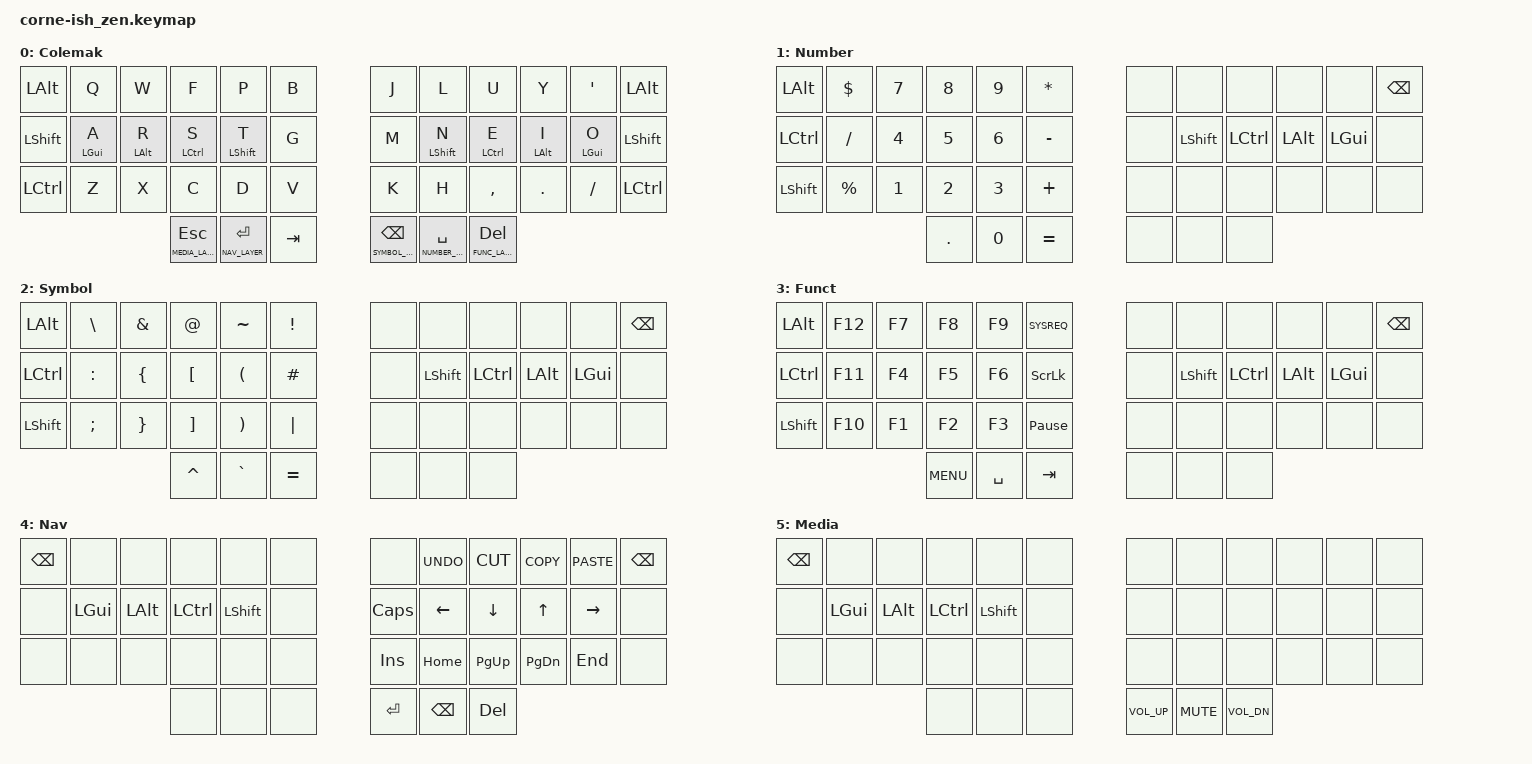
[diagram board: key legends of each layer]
/*
*
* Copyright (c) 2021 Darryl deHaan
* SPDX-License-Identifier: MIT
*
*/

#include <behaviors.dtsi>
#include <dt-bindings/zmk/keys.h>
#include <dt-bindings/zmk/bt.h>

#define DEFAULT 0
#define NUMBER_LAYER 1
#define SYMBOL_LAYER 2
#define FUNC_LAYER 3
#define NAV_LAYER 4
#define MEDIA_LAYER 5
#define GAMING_LAYER 6

/ {

        behaviors {
            // Taken from Option 3 on https://zmk.dev/docs/behaviors/hold-tap
            bhm: balanced_homerow_mods {
                compatible = "zmk,behavior-hold-tap";
                label = "HOMEROW_MODS";
                #binding-cells = <2>;
                tapping-term-ms = <200>;    // <---[[moderate duration]]
                quick-tap-ms = <0>;
                flavor = "balanced";
                bindings = <&kp>, <&kp>;
            };
        };
        
        keymap {
                compatible = "zmk,keymap";

                default_layer {
                        label = "Colemak";
// -----------------------------------------------------------------------------------------
// |  ALT |  Q  |  W  |  F  |  P  |  B  |     |  J  |  L   |  U  |  Y  |  '  | ALT  |
// | SHFT |  A  |  R  |  S  |  T  |  G  |     |  M  |  N   |  E  |  I  |  O  | SHFT |
// | CTRL |  Z  |  X  |  C  |  D  |  V  |     |  K  |  H   |  ,  |  .  |  /  | CTRL |
//                    | ESC | ENT | TAB |     | BSPC| SPC  | DEL |
                        bindings = <
   &kp LALT  &kp Q       &kp W       &kp F        &kp P        &kp B          &kp J &kp L         &kp U            &kp Y         &kp SQT        &kp LALT
   &kp LSHFT &bhm LGUI A &bhm LALT R &bhm LCTRL S &bhm LSHFT T &kp G          &kp M &bhm LSHFT N  &bhm LCTRL E     &bhm LALT I   &bhm LGUI O    &kp LSHFT
   &kp LCTRL &kp Z       &kp X       &kp C        &kp D        &kp V          &kp K &kp H         &kp COMMA        &kp DOT       &kp FSLH       &kp LCTRL
   &lt MEDIA_LAYER ESC &lt NAV_LAYER RET &kp TAB                              &lt SYMBOL_LAYER BSPC &lt NUMBER_LAYER SPC &lt FUNC_LAYER DEL
                        >;
                };
                
                number_layer {
                        label = "Number";
// -----------------------------------------------------------------------------------------
// |  ALT |  $  |  7  |  8  |  9  |  *  |     |     |     |     |     |     | BKSP |
// | CTRL |  /  |  4  |  5  |  6  |  -  |     |     |LSHFT|LCTRL| LALT| LGUI|      |
// | SHFT |  %  |  1  |  2  |  3  |  +  |     |     |     |     |     |     |      |
//                    | DOT |  0  |  =  |     |     |     |     |
                        bindings = <
   &kp LALT   &kp DLLR  &kp N7 &kp N8 &kp N9 &kp STAR      &none  &none     &none     &none    &none    &kp BSPC
   &kp LCTRL  &kp FSLH  &kp N4 &kp N5 &kp N6 &kp MINUS     &none  &kp LSHFT &kp LCTRL &kp LALT &kp LGUI &none
   &kp LSHFT  &kp PRCNT &kp N1 &kp N2 &kp N3 &kp PLUS      &none  &none     &none     &none    &none    &none
                              &kp DOT &kp N0 &kp EQUAL     &none  &none   &none
                        >;
                };
                
                symbol_layer {
                        label = "Symbol";
// -----------------------------------------------------------------------------------------
// |  ALT |  \  |  &  |  @  |  ~  |  !  |   |     |     |     |     |     | BKSP |
// | CTRL |  :  |  {  |  [  |  (  |  #  |   |     |LSHFT|LCTRL| LALT| LGUI|      |
// | SHFT |  ;  |  }  |  ]  |  )  |  |  |   |     |     |     |     |     |      |
//                    |  ^  |  `  |  =  |   |     |     |     |
                        bindings = <
   &kp LALT   &kp BSLH  &kp AMPS &kp AT   &kp TILDE &kp EXCL     &none  &none     &none     &none    &none    &kp BSPC
   &kp LCTRL  &kp COLON &kp LBRC &kp LBKT &kp LPAR  &kp HASH     &none  &kp LSHFT &kp LCTRL &kp LALT &kp LGUI &none
   &kp LSHFT  &kp SEMI  &kp RBRC &kp RBKT &kp RPAR  &kp PIPE     &none  &none     &none     &none    &none    &none
                               &kp CARET &kp GRAVE &kp EQUAL     &none  &none   &none
                        >;
                };
                
                function_layer {
                        label = "Funct";
// -----------------------------------------------------------------------------------------
// |  ALT | F12 | F7  | F8  | F9  |  SysRq  |     |     |     |     |     |     | BKSP |
// | CTRL | F11 | F4  | F5  | F6  |  ScrlLk |     |     |LSHFT|LCTRL| LALT| LGUI|      |
// | SHFT | F10 | F1  | F2  | F3  |  Pause  |     |     |     |     |     |     |      |
//                    | MENU|  SPC  |  TAB  |     |     |     |     |
                        bindings = <
   &kp LALT   &kp F12  &kp F7 &kp F8 &kp F9 &kp SYSREQ          &none  &none     &none     &none    &none    &kp BSPC
   &kp LCTRL  &kp F11  &kp F4 &kp F5 &kp F6 &kp SLCK            &none  &kp LSHFT &kp LCTRL &kp LALT &kp LGUI &none
   &kp LSHFT  &kp F10  &kp F1 &kp F2 &kp F3 &kp PAUSE_BREAK     &none  &none     &none     &none    &none    &none
                              &kp K_MENU &kp SPC &kp TAB        &none  &none   &none
                        >;
                };
                
                nav_layer {
                        label = "Nav";
// -----------------------------------------------------------------------------------------
// | BKSP |      |      |       |       |    |        |        | UNDO | CUT   | COPY  | PASTE | BKSP |
// |      | LGUI | LALT | LCTRL | LSHFT |    |  GAP   | CAPS   | LEFT | DOWN  | UP    | RIGHT |      |
// |      |      |      |       |       |    |        | INSERT | HOME | PG_UP | PG_DN | END   |      |
//                          |     |     |    |        | ENTER  | BKSP | DEL   |
                        bindings = <
   &kp BKSP &none    &none    &none     &none     &none     &none    &kp K_UNDO &kp K_CUT &kp K_COPY &kp K_PASTE &kp BSPC
   &none    &kp LGUI &kp LALT &kp LCTRL &kp LSHFT &none     &kp CAPS &kp LEFT   &kp DOWN  &kp UP     &kp RIGHT   &none
   &none    &none     &none    &none    &none     &none     &kp INS  &kp HOME   &kp PG_UP &kp PG_DN  &kp END     &none
                                      &none &none &none     &kp ENTER &kp BKSP &kp DEL
                        >;
                };
                
                media_layer {
                        label = "Media";
// -----------------------------------------------------------------------------------------
// | BKSP |      |      |       |       |    |        |    |    |    |    |    |    |
// |      | LGUI | LALT | LCTRL | LSHFT |    |  GAP   |    |    |    |    |    |    |
// |      |      |      |       |       |    |        |    |    |    |    |    |    |
//                          |     |     |    |        | VOL_UP   | MUTE | VOL_DN |
                        bindings = <
   &kp BKSP &none    &none    &none     &none     &none     &none &none &none &none &none &none
   &none    &kp LGUI &kp LALT &kp LCTRL &kp LSHFT &none     &none &none &none &none &none &none
   &none    &none     &none    &none    &none     &none     &none &none &none &none &none &none
                                      &none &none &none     &kp K_VOL_UP &kp K_MUTE &kp K_VOL_DN
                        >;
                };
                
        };
};
